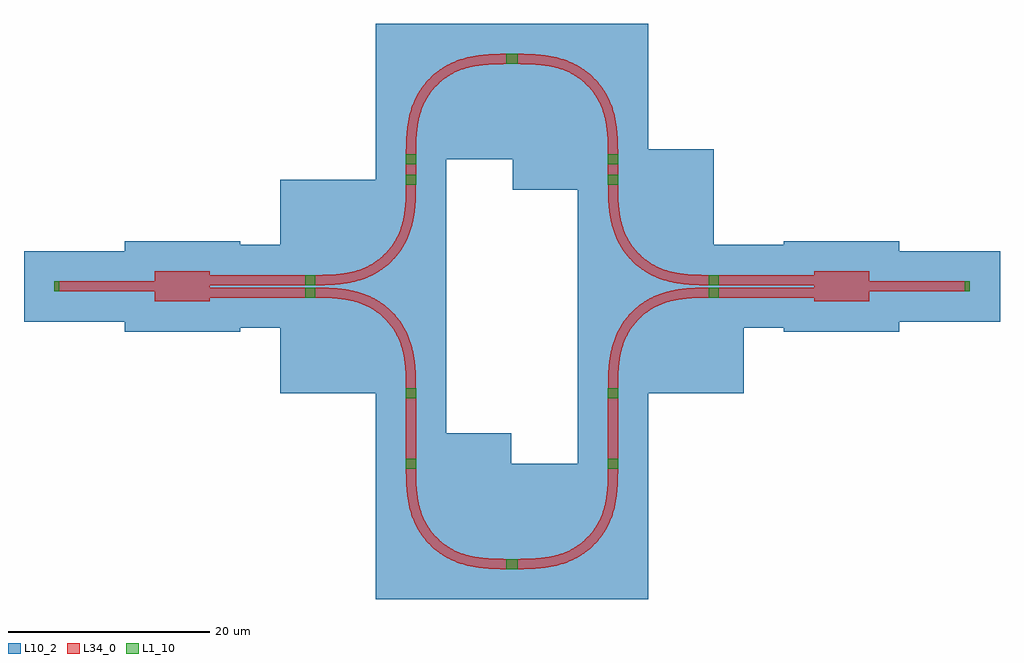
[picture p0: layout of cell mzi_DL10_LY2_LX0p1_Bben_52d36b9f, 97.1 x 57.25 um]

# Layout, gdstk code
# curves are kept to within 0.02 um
from math import pi, radians
import gdstk
lib = gdstk.Library(unit=1e-6, precision=1e-09)
def R(c, l, rs):  # rectangles x0, y0, x1, y1
    for r in rs: c.add(gdstk.rectangle(r[:2], r[2:], *l))
def P(c, l, *ps):  # polygons
    for p in ps: c.add(gdstk.Polygon(p, *l))
L1_10 = (1, 10)
L10_2 = (10, 2)
L34_0 = (34, 0)

mmi1x2_nc_wm3_csstrip_nc = lib.new_cell('mmi1x2_nc_WM3_CSstrip_nc')
R(mmi1x2_nc_wm3_csstrip_nc, L1_10, [(15,-1.125,15.5,-0.125), (-10,-0.5,-9.5,0.5), (15,0.125,15.5,1.125)])
P(mmi1x2_nc_wm3_csstrip_nc, L10_2, [(-3,-4.5),(-3,-3.5),(-13,-3.5),(-13,3.5),(-3,3.5),(-3,4.5),(8.5,4.5),(8.5,4.125),(18.5,4.125),(18.5,-4.125),(8.5,-4.125),(8.5,-4.5)])
P(mmi1x2_nc_wm3_csstrip_nc, L34_0, [(0,-1.5),(0,-0.5),(-10,-0.5),(-10,0.5),(0,0.5),(0,1.5),(5.5,1.5),(5.5,1.125),(15.5,1.125),(15.5,0.125),(5.5,0.125),(5.5,-0.125),(15.5,-0.125),(15.5,-1.125),(5.5,-1.125),(5.5,-1.5)])

bend_euler_nc_csstrip_nc = lib.new_cell('bend_euler_nc_CSstrip_nc')
R(bend_euler_nc_csstrip_nc, L1_10, [(0,-0.5,0.5,0.5), (9.5,9.5,10.5,10)])
R(bend_euler_nc_csstrip_nc, L10_2, [(-3,-3.5,13.5,10)])
P(bend_euler_nc_csstrip_nc, L34_0, [(0,-0.5),(0,0.5),(1.646,0.519),(2.721,0.588),(3.642,0.715),(4.536,0.923),(5.388,1.23),(6.076,1.581),(6.718,2.01),(7.398,2.602),(7.99,3.282),(8.419,3.924),(8.77,4.612),(9.077,5.464),(9.285,6.358),(9.412,7.279),(9.481,8.354),(9.5,10),(10.5,10),(10.485,8.46),(10.407,7.181),(10.269,6.18),(10.037,5.184),(9.686,4.211),(9.282,3.418),(8.696,2.56),(8.105,1.895),(7.44,1.304),(6.582,0.718),(5.789,0.314),(4.816,-0.037),(3.82,-0.269),(2.819,-0.407),(1.54,-0.485)])

straight_nc_csstrip_nc_l = lib.new_cell('straight_nc_CSstrip_nc_L2')
R(straight_nc_csstrip_nc_l, L1_10, [(0,-0.5,0.5,0.5), (1.5,-0.5,2,0.5)])
R(straight_nc_csstrip_nc_l, L10_2, [(-3,-3.5,5,3.5)])
R(straight_nc_csstrip_nc_l, L34_0, [(0,-0.5,2,0.5)])

c_straight_nc_csstrip_nc_l = lib.new_cell('straight_nc_CSstrip_nc_L7')
R(c_straight_nc_csstrip_nc_l, L1_10, [(0,-0.5,0.5,0.5), (6.5,-0.5,7,0.5)])
R(c_straight_nc_csstrip_nc_l, L10_2, [(-3,-3.5,10,3.5)])
R(c_straight_nc_csstrip_nc_l, L34_0, [(0,-0.5,7,0.5)])

c_straight_nc_csstrip_nc_l_ = lib.new_cell('straight_nc_CSstrip_nc_L0p1')
R(c_straight_nc_csstrip_nc_l_, L1_10, [(-0.4,-0.5,0.1,0.5), (0,-0.5,0.5,0.5)])
R(c_straight_nc_csstrip_nc_l_, L10_2, [(-3,-3.5,3.1,3.5)])
R(c_straight_nc_csstrip_nc_l_, L34_0, [(0,-0.5,0.1,0.5)])

mzi_dl10_ly2_lx0p1_bben_ = lib.new_cell('mzi_DL10_LY2_LX0p1_Bben_52d36b9f')
mzi_dl10_ly2_lx0p1_bben_.add(gdstk.Reference(mmi1x2_nc_wm3_csstrip_nc, (0,0)))
mzi_dl10_ly2_lx0p1_bben_.add(gdstk.Reference(bend_euler_nc_csstrip_nc, (15.5,-0.625), x_reflection=True))
mzi_dl10_ly2_lx0p1_bben_.add(gdstk.Reference(bend_euler_nc_csstrip_nc, (25.5,-17.625), rotation=3*pi/2))
mzi_dl10_ly2_lx0p1_bben_.add(gdstk.Reference(bend_euler_nc_csstrip_nc, (15.5,0.625)))
mzi_dl10_ly2_lx0p1_bben_.add(gdstk.Reference(bend_euler_nc_csstrip_nc, (35.5,22.625), rotation=pi))
mzi_dl10_ly2_lx0p1_bben_.add(gdstk.Reference(bend_euler_nc_csstrip_nc, (45.6,12.625), rotation=pi/2))
mzi_dl10_ly2_lx0p1_bben_.add(gdstk.Reference(bend_euler_nc_csstrip_nc, (45.6,10.625), rotation=3*pi/2))
mzi_dl10_ly2_lx0p1_bben_.add(gdstk.Reference(bend_euler_nc_csstrip_nc, (35.6,-27.625)))
mzi_dl10_ly2_lx0p1_bben_.add(gdstk.Reference(bend_euler_nc_csstrip_nc, (55.6,-0.625), rotation=pi))
mzi_dl10_ly2_lx0p1_bben_.add(gdstk.Reference(straight_nc_csstrip_nc_l, (25.5,10.625), rotation=pi/2))
mzi_dl10_ly2_lx0p1_bben_.add(gdstk.Reference(c_straight_nc_csstrip_nc_l, (25.5,-10.625), rotation=3*pi/2))
mzi_dl10_ly2_lx0p1_bben_.add(gdstk.Reference(c_straight_nc_csstrip_nc_l_, (35.5,22.625)))
mzi_dl10_ly2_lx0p1_bben_.add(gdstk.Reference(c_straight_nc_csstrip_nc_l_, (35.5,-27.625)))
mzi_dl10_ly2_lx0p1_bben_.add(gdstk.Reference(mmi1x2_nc_wm3_csstrip_nc, (71.1,0), rotation=pi, x_reflection=True))
mzi_dl10_ly2_lx0p1_bben_.add(gdstk.Reference(straight_nc_csstrip_nc_l, (45.6,10.625), rotation=pi/2))
mzi_dl10_ly2_lx0p1_bben_.add(gdstk.Reference(c_straight_nc_csstrip_nc_l, (45.6,-17.625), rotation=pi/2))

lib.write_gds('mzi_DL10_LY2_LX0p1_Bben_52d36b9f.gds')
